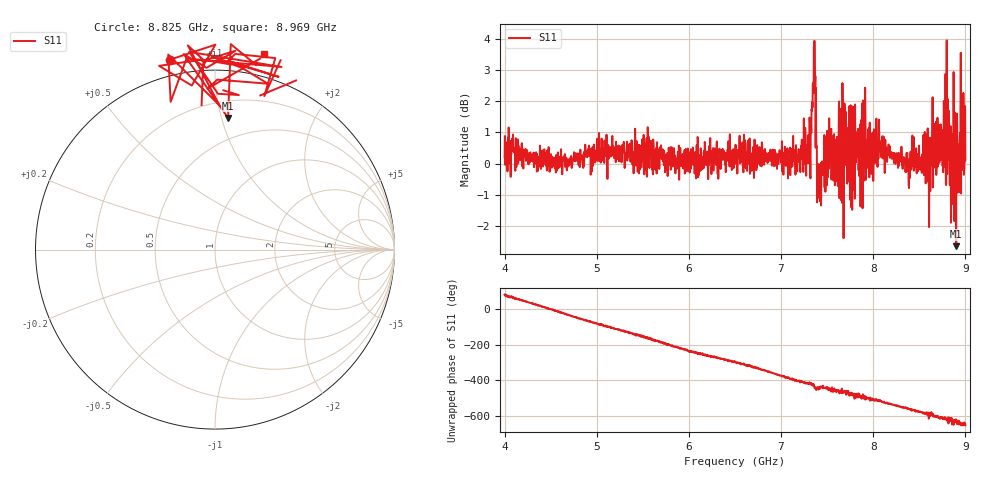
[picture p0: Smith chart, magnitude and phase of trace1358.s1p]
! Created with skrf 1.8.0 (http://scikit-rf.org).
# Hz S RI R 50.0
!freq ReS11 ImS11
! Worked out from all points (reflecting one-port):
!   1601 points, 4 GHz to 9 GHz, reference 50 ohm
!   lowest |S11| = -2.6 dB at 8.9 GHz (marker M1), VSWR 6.61, Z = 16.3 + j52.5 ohm
!   phase of S11 starts at 82 deg and turns -737 deg over the sweep
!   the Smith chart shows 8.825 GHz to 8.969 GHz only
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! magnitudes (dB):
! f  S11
! 4 GHz  0.2
! 4.625 GHz  -0.3
! 5.25 GHz  0.4
! 5.875 GHz  -0.1
! 6.5 GHz  0.3
! 7.125 GHz  0.4
! 7.294 GHz  0.0
! 7.353 GHz  2.3
! 7.369 GHz  2.4
! 7.4 GHz  -0.7
! 7.416 GHz  -1.1
! 7.519 GHz  -0.2
! 7.609 GHz  0.8
! 7.691 GHz  0.0
! 7.75 GHz  -0.4
! 7.775 GHz  1.1
! 7.822 GHz  0.2
! 7.891 GHz  -0.3
! 7.981 GHz  -0.3
! 8.375 GHz  -0.2
! 8.441 GHz  -0.2
! 8.594 GHz  0.4
! 8.766 GHz  2.0
! 8.791 GHz  -0.7
! 8.856 GHz  0.7
! 8.9 GHz  -2.6
! 8.956 GHz  0.4
! 9 GHz  0.1
